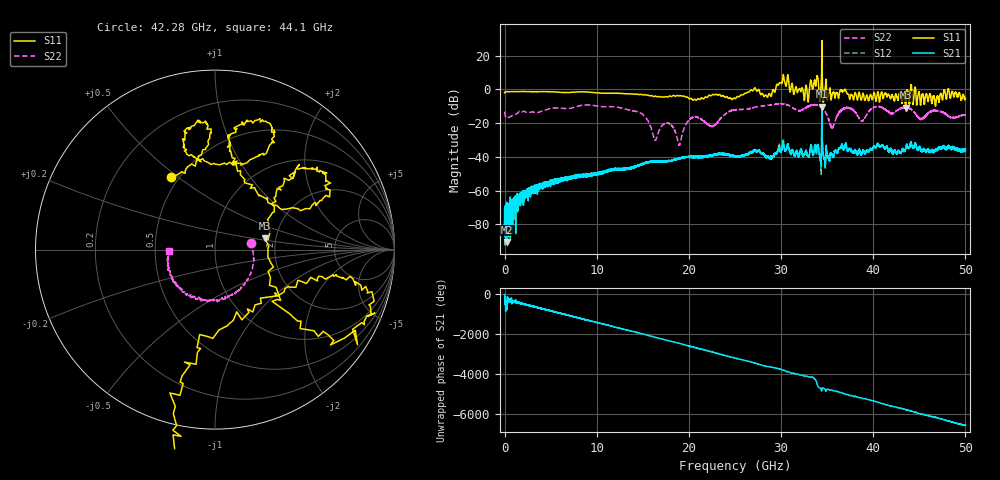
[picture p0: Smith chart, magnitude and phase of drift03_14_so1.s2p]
!Created with skrf (http://scikit-rf.org).
# Hz S RI R 50.0
!freq ReS11 ImS11 ReS21 ImS21 ReS12 ImS12 ReS22 ImS22
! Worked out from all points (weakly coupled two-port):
!   10000 points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, 5.3 MHz to 50 GHz, reference 50 ohm
!   highest |S21| = -10.38 dB at 34.43 GHz (marker M1); lowest = -90.5 dB at 220.3 MHz (marker M2)
!   lowest |S11| = -10.9 dB at 43.52 GHz (marker M3), VSWR 1.80, Z = 87.6 + j12.1 ohm
!   |S11| at or under -10 dB: 43.50526 GHz to 43.53969 GHz (34.43 MHz wide, 0.0791 % of centre)
!   |S22| runs from -33.2 to -8.4 dB; largest |S21 - S12| = 0.091
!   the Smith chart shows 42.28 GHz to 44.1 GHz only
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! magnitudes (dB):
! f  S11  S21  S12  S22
! 5.3 MHz  -2.1  -71.0  -77.6  -13.3
! 220.3 MHz  -1.4  -90.5  -70.7  -17.0
! 2.955 GHz  -1.4  -59.3  -59.1  -13.4
! 8.34 GHz  -1.5  -51.7  -51.3  -9.5
! 14.52 GHz  -3.1  -45.4  -45.2  -13.5
! 16.67 GHz  -4.4  -42.9  -42.8  -25.9
! 17.81 GHz  -4.2  -42.3  -42.2  -20.1
! 18.97 GHz  -4.0  -41.1  -41.1  -33.1
! 20.27 GHz  -5.5  -39.6  -40.0  -17.0
! 22.57 GHz  -3.1  -39.4  -39.1  -21.9
! 25.01 GHz  -5.5  -39.4  -39.9  -12.1
! 28.72 GHz  -2.5  -40.6  -40.5  -9.3
! 30.14 GHz  4.3  -33.6  -34.0  -8.6
! 32.74 GHz  2.0  -36.8  -36.5  -10.6
! 33.34 GHz  2.5  -34.9  -34.9  -9.4
! 34.43 GHz  29.0  -10.4  -12.5  -10.9
! 35.55 GHz  -2.9  -39.2  -39.0  -22.5
! 36.99 GHz  -0.1  -32.4  -32.4  -11.0
! 38.76 GHz  -5.7  -38.3  -38.1  -18.9
! 41.67 GHz  -3.2  -36.8  -36.7  -13.0
! 43.52 GHz  -10.9  -35.0  -35.1  -10.8
! 50 GHz  -5.3  -35.5  -36.3  -15.5
